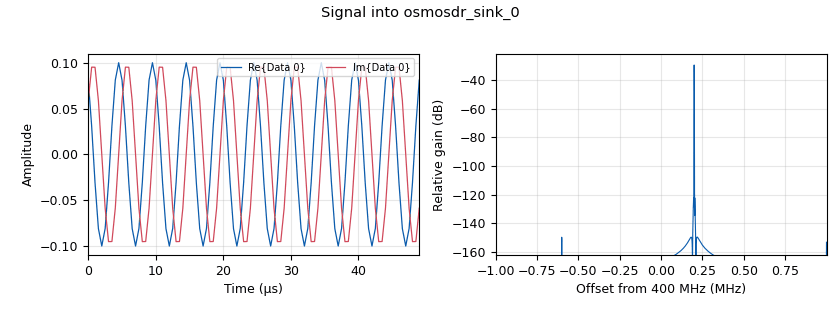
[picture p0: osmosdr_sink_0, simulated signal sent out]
options:
  parameters:
    description: EXP-08 matriz portadora / tono / amplitud - bladeRF x40 contra tinySA por cable
    generate_options: qt_gui
    id: exp08_matriz_amplitud
    output_language: python
    title: EXP-08 matriz portadora / tono / amplitud
  states: {}

blocks:
- name: amp
  id: variable_qtgui_chooser
  parameters:
    label: Amplitud digital
    labels: '[''0.1'', ''0.2'', ''0.3'', ''0.4'', ''0.5'', ''0.6'', ''0.7'']'
    num_opts: '0'
    options: '[0.1, 0.2, 0.3, 0.4, 0.5, 0.6, 0.7]'
    type: raw
    value: '0.1'
  states: {}
- name: f_espuria
  id: variable_qtgui_label
  parameters:
    label: Espuria si sigue a la portadora (MHz)
    type: real
    value: (freq - 937.7e3) / 1e6
  states: {}
- name: f_fuga
  id: variable_qtgui_label
  parameters:
    label: Fuga de portadora (MHz)
    type: real
    value: freq / 1e6
  states: {}
- name: f_imagen
  id: variable_qtgui_label
  parameters:
    label: Imagen (MHz)
    type: real
    value: (freq - tone_freq) / 1e6
  states: {}
- name: f_start
  id: variable_qtgui_label
  parameters:
    label: tinySA START (MHz)
    type: real
    value: (freq - 1.2e6) / 1e6
  states: {}
- name: f_stop
  id: variable_qtgui_label
  parameters:
    label: tinySA STOP (MHz)
    type: real
    value: (freq + 0.8e6) / 1e6
  states: {}
- name: f_tono
  id: variable_qtgui_label
  parameters:
    label: Tono util (MHz)
    type: real
    value: (freq + tone_freq) / 1e6
  states: {}
- name: freq
  id: variable_qtgui_chooser
  parameters:
    label: Portadora
    label0: 400 MHz
    label1: 600 MHz
    num_opts: '2'
    option0: 400e6
    option1: 600e6
    orient: Qt.QHBoxLayout
    type: real
    value: 400e6
    widget: radio_buttons
  states: {}
- name: samp_rate
  id: variable
  parameters:
    value: 2e6
  states: {}
- name: tone_freq
  id: variable_qtgui_chooser
  parameters:
    label: Tono de banda base
    label0: 200 kHz
    label1: 500 kHz
    label2: 600 kHz
    num_opts: '3'
    option0: 200e3
    option1: 500e3
    option2: 600e3
    orient: Qt.QHBoxLayout
    type: real
    value: 200e3
    widget: radio_buttons
  states: {}
- name: tx_gain
  id: variable_qtgui_chooser
  parameters:
    label: Ganancia TX (dB)
    label0: '17'
    label1: '20'
    label2: '25'
    label3: '30'
    num_opts: '4'
    option0: '17'
    option1: '20'
    option2: '25'
    option3: '30'
    orient: Qt.QHBoxLayout
    type: real
    value: '17'
    widget: radio_buttons
  states: {}
- name: analog_sig_source_x_0
  id: analog_sig_source_x
  parameters:
    amp: amp
    freq: tone_freq
    offset: '0'
    phase: '0'
    samp_rate: samp_rate
    type: complex
    waveform: analog.GR_COS_WAVE
  states: {}
- name: osmosdr_sink_0
  id: osmosdr_sink
  parameters:
    args: bladerf=0
    bb_gain0: '0'
    freq0: freq
    gain0: tx_gain
    if_gain0: '0'
    sample_rate: samp_rate
    sync: sync
    type: fc32
  states: {}

connections:
- [analog_sig_source_x_0, '0', osmosdr_sink_0, '0']

metadata:
  file_format: 1
  grc_version: 3.10.12.0
